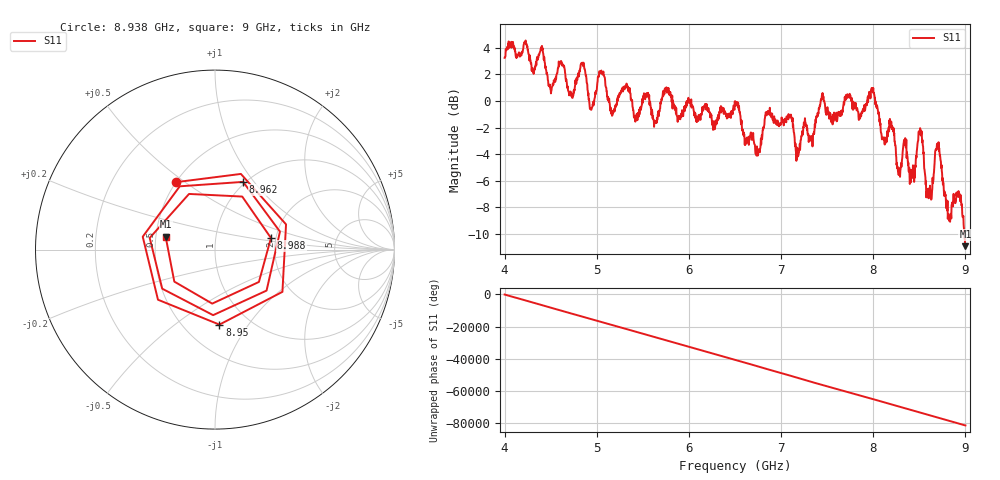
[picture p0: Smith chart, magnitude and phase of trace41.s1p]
! Created with skrf 1.8.0 (http://scikit-rf.org).
# Hz S RI R 50.0
!freq ReS11 ImS11
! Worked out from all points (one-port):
!   1601 points, 4 GHz to 9 GHz, reference 50 ohm
!   lowest |S11| = -10.9 dB at 9 GHz (marker M1), VSWR 1.79, Z = 28.2 + j4.42 ohm
!   |S11| at or under -10 dB: 8.988429 GHz to end of sweep
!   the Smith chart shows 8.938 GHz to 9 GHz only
!   S11 on the Smith chart (normalised r, x): 8.938 GHz: 0.50, +0.46; 8.95 GHz: 0.73, -0.74; 8.962 GHz: 0.98, +0.88; 8.988 GHz: 1.88, +0.27; 9 GHz: 0.56, +0.09
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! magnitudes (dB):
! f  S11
! 4 GHz  3.2
! 4.625 GHz  2.8
! 4.722 GHz  0.6
! 4.85 GHz  2.7
! 4.944 GHz  -0.6
! 5.047 GHz  2.2
! 5.169 GHz  -1.0
! 5.25 GHz  0.5
! 5.875 GHz  -1.2
! 6.5 GHz  -0.2
! 6.744 GHz  -4.0
! 6.853 GHz  -0.8
! 7.125 GHz  -1.3
! 7.184 GHz  -4.2
! 7.444 GHz  0.5
! 7.75 GHz  0.4
! 7.994 GHz  0.7
! 8.275 GHz  -5.6
! 8.375 GHz  -4.5
! 8.509 GHz  -2.0
! 8.6 GHz  -7.3
! 8.697 GHz  -3.3
! 8.822 GHz  -8.7
! 8.938 GHz  -7.2
! 8.95 GHz  -7.6
! 8.962 GHz  -7.8
! 8.988 GHz  -9.9
! 9 GHz  -10.9
